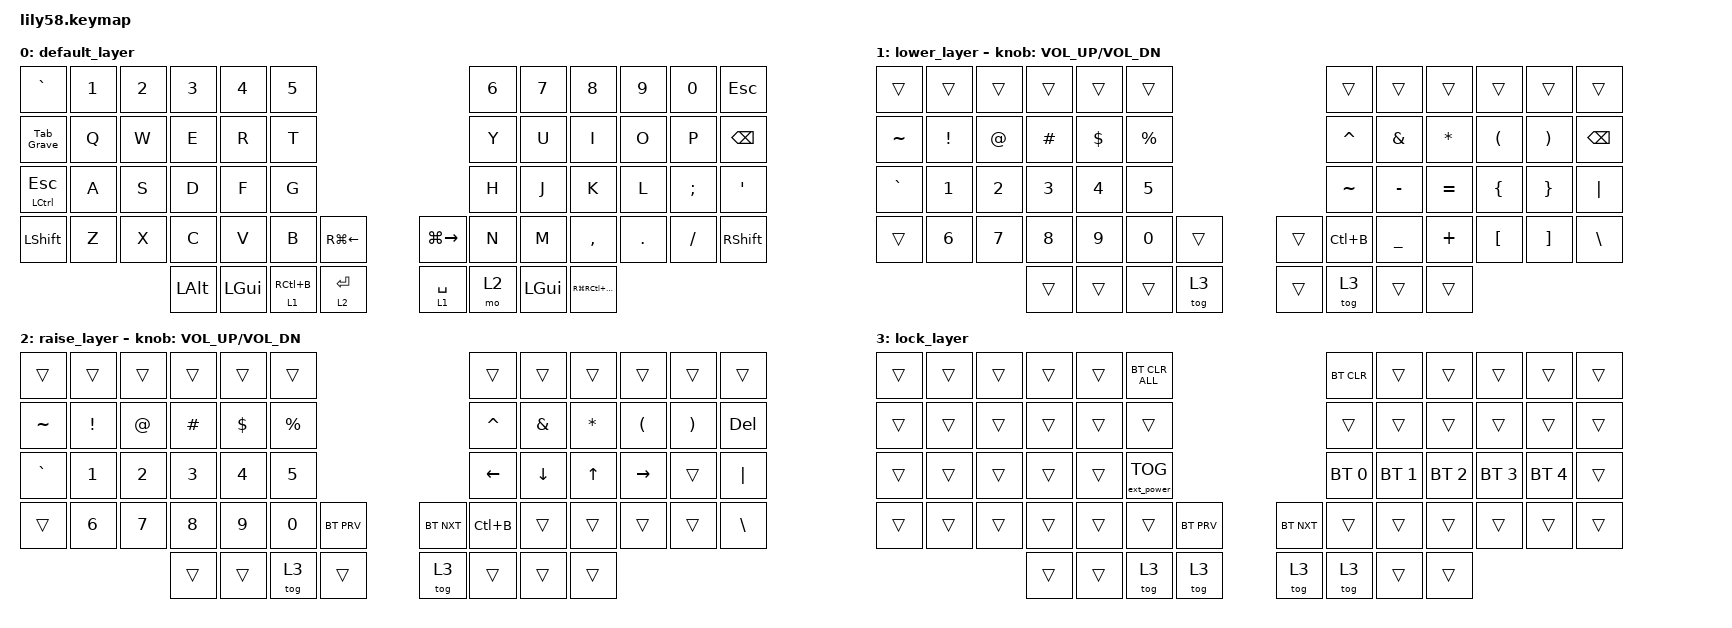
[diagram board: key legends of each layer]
/*
 * Copyright (c) 2020 The ZMK Contributors
 *
 * SPDX-License-Identifier: MIT
 */

#include <behaviors.dtsi>
#include <dt-bindings/zmk/bt.h>
#include <dt-bindings/zmk/ext_power.h>
#include <dt-bindings/zmk/keys.h>

/ {
    behaviors {
        Tab_Grave: Tab_Grave {
            compatible = "zmk,behavior-mod-morph";
            label = "TAB_GRAVE";
            bindings = <&kp TAB>, <&kp GRAVE>;

            #binding-cells = <0>;
            mods = <(MOD_LSFT|MOD_RSFT|MOD_RCTL|MOD_LCTL|MOD_LALT|MOD_RALT)>;
            keep-mods = <(MOD_LGUI|MOD_RGUI)>;
        };
    };

    keymap {
        compatible = "zmk,keymap";

        default_layer {
            // ------------------------------------------------------------------------------------------------------------
            // |  ESC  |  1  |  2  |  3   |  4   |  5   |                   |  6   |  7    |  8    |  9   |   0   |   <   |
            // |  TAB  |  Q  |  W  |  E   |  R   |  T   |                   |  Y   |  U    |  I    |  O   |   P   |   -   |
            // |  CTRL |  A  |  S  |  D   |  F   |  G   |                   |  H   |  J    |  K    |  L   |   ;   |   '   |
            // | SHIFT |  Z  |  X  |  C   |  V   |  B   |   "["  |  |  "]"  |  N   |  M    |  ,    |  .   |   /   | SHIFT |
            //                     | ALT  | GUI  | LOWER|  SPACE |  | ENTER | RAISE| BSPC  | GUI   |

            bindings = <
&kp GRAVE      &kp N1  &kp N2  &kp N3    &kp N4    &kp N5                                                  &kp N6  &kp N7        &kp N8            &kp N9   &kp N0    &kp ESCAPE
&Tab_Grave     &kp Q   &kp W   &kp E     &kp R     &kp T                                                   &kp Y   &kp U         &kp I             &kp O    &kp P     &kp BACKSPACE
&mt LCTRL ESC  &kp A   &kp S   &kp D     &kp F     &kp G                                                   &kp H   &kp J         &kp K             &kp L    &kp SEMI  &kp SQT
&kp LSHFT      &kp Z   &kp X   &kp C     &kp V     &kp B        &kp RG(LEFT_ARROW)    &kp LG(RIGHT_ARROW)  &kp N   &kp M         &kp COMMA         &kp DOT  &kp FSLH  &kp RSHFT
                               &kp LALT  &kp LGUI  &lt 1 RC(B)  &lt 2 RET             &lt 1 SPACE          &mo 2   &kp LEFT_GUI  &kp RG(RC(RALT))
            >;
        };

        lower_layer {
            // ------------------------------------------------------------------------------------------------------------
            // | BTCLR | BT1 | BT2 |  BT3 |  BT4 |  BT5 |                   |      |       |       |      |       |       |
            // |  F1   |  F2 |  F3 |  F4  |  F5  |  F6  |                   |  F7  |  F8   |  F9   |  F10 |  F11  |  F12  |
            // |   `   |  !  |  @  |  #   |  $   |  %   |                   |  ^   |  &    |  *    |  (   |   )   |   ~   |
            // |       |     |     |      |      |      |        |  |       |      |  _    |  +    |  {   |   }   |  "|"  |
            //                     |      |      |      |        |  |       |      |       |       |

            bindings = <
&trans     &trans           &trans        &trans        &trans        &trans                          &trans     &trans         &trans        &trans                &trans                 &trans
&kp TILDE  &kp EXCLAMATION  &kp AT_SIGN   &kp HASH      &kp DOLLAR    &kp PERCENT                     &kp CARET  &kp AMPERSAND  &kp ASTERISK  &kp LEFT_PARENTHESIS  &kp RIGHT_PARENTHESIS  &kp BACKSPACE
&kp GRAVE  &kp NUMBER_1     &kp NUMBER_2  &kp NUMBER_3  &kp NUMBER_4  &kp NUMBER_5                    &kp TILDE  &kp MINUS      &kp EQUAL     &kp LEFT_BRACE        &kp RIGHT_BRACE        &kp PIPE
&trans     &kp NUMBER_6     &kp NUMBER_7  &kp NUMBER_8  &kp NUMBER_9  &kp NUMBER_0  &trans    &trans  &kp LC(B)  &kp UNDER      &kp PLUS      &kp LEFT_BRACKET      &kp RIGHT_BRACKET      &kp BACKSLASH
                                          &trans        &trans        &trans        &tog 3    &trans  &tog 3     &trans         &trans
            >;

            sensor-bindings = <&inc_dec_kp C_VOL_UP C_VOL_DN>;
        };

        raise_layer {
            // ------------------------------------------------------------------------------------------------------------
            // |       |     |     |      |      |      |                   |      |       |       |      |       |       |
            // |   `   |  1  |  2  |  3   |  4   |  5   |                   |  6   |   7   |   8   |  9   |   0   |       |
            // |   F1  |  F2 |  F3 |  F4  |  F5  |  F6  |                   |      |   <-  |   v   |  ^   |  ->   |       |
            // |   F7  |  F8 |  F9 |  F10 |  F11 |  F12 |        |  |       |  +   |   -   |   =   |  [   |   ]   |   \   |
            //                     |      |      |      |        |  |       |      |       |       |

            bindings = <
&trans     &trans           &trans        &trans        &trans        &trans                                  &trans     &trans         &trans        &trans                &trans                 &trans
&kp TILDE  &kp EXCLAMATION  &kp AT_SIGN   &kp HASH      &kp DOLLAR    &kp PERCENT                             &kp CARET  &kp AMPERSAND  &kp ASTERISK  &kp LEFT_PARENTHESIS  &kp RIGHT_PARENTHESIS  &kp DEL
&kp GRAVE  &kp NUMBER_1     &kp NUMBER_2  &kp NUMBER_3  &kp NUMBER_4  &kp NUMBER_5                            &kp LEFT   &kp DOWN       &kp UP_ARROW  &kp RIGHT             &trans                 &kp PIPE
&trans     &kp NUMBER_6     &kp NUMBER_7  &kp NUMBER_8  &kp NUMBER_9  &kp NUMBER_0  &bt BT_PRV    &bt BT_NXT  &kp LC(B)  &trans         &trans        &trans                &trans                 &kp BACKSLASH
                                          &trans        &trans        &tog 3        &trans        &tog 3      &trans     &trans         &trans
            >;

            sensor-bindings = <&inc_dec_kp C_VOL_UP C_VOL_DN>;
        };

        lock_layer {
            bindings = <
&trans  &trans  &trans  &trans  &trans  &bt BT_CLR_ALL                               &bt BT_CLR    &trans        &trans        &trans        &trans        &trans
&trans  &trans  &trans  &trans  &trans  &trans                                       &trans        &trans        &trans        &trans        &trans        &trans
&trans  &trans  &trans  &trans  &trans  &ext_power EP_TOG                            &bt BT_SEL 0  &bt BT_SEL 1  &bt BT_SEL 2  &bt BT_SEL 3  &bt BT_SEL 4  &trans
&trans  &trans  &trans  &trans  &trans  &trans             &bt BT_PRV    &bt BT_NXT  &trans        &trans        &trans        &trans        &trans        &trans
                        &trans  &trans  &tog 3             &tog 3        &tog 3      &tog 3        &trans        &trans
            >;
        };
    };
};
